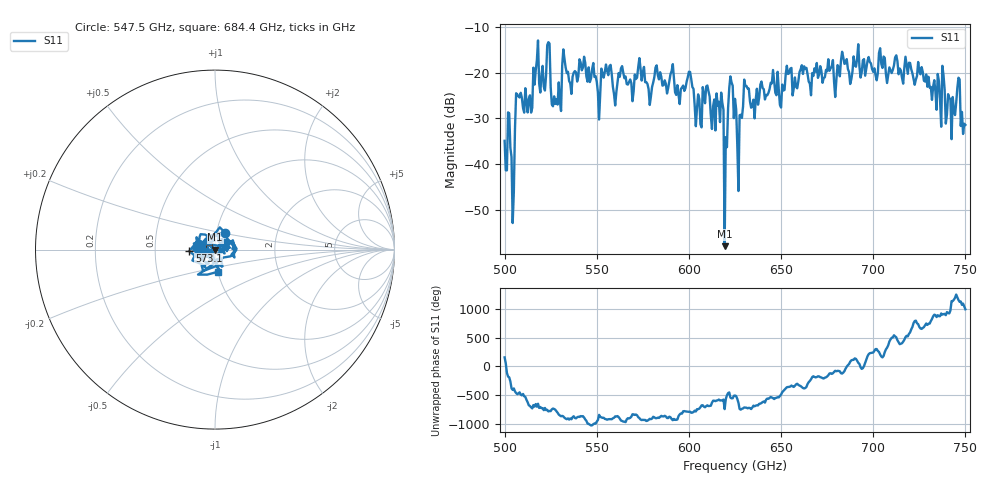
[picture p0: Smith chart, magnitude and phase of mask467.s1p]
!Created with skrf (http://scikit-rf.org).
# GHz S MA R 50.0
!freq magS11 angS11
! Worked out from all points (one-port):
!   401 points, 500 GHz to 750 GHz, reference 50 ohm
!   lowest |S11| = -57.8 dB at 619.4 GHz (marker M1), VSWR 1.00, Z = 50.1 - j0.0469 ohm
!   |S11| at or under -10 dB: start of sweep to end of sweep
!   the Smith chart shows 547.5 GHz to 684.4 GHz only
!   S11 on the Smith chart (normalised r, x): 547.5 GHz: 1.10, +0.21; 573.1 GHz: 0.75, -0.01; 684.4 GHz: 1.00, -0.25
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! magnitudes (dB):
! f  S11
! 500 GHz  -34.9
! 502.5 GHz  -28.9
! 504.4 GHz  -52.8
! 507.5 GHz  -25.2
! 513.8 GHz  -25.0
! 516.9 GHz  -19.6
! 523.8 GHz  -13.4
! 526.9 GHz  -25.2
! 531.2 GHz  -18.4
! 547.5 GHz  -19.2
! 562.5 GHz  -20.9
! 573.1 GHz  -16.9
! 593.8 GHz  -22.7
! 616.2 GHz  -26.4
! 619.4 GHz  -57.8
! 620.6 GHz  -36.3
! 622.5 GHz  -20.8
! 625 GHz  -25.7
! 627.5 GHz  -29.3
! 631.2 GHz  -22.9
! 634.4 GHz  -27.3
! 656.2 GHz  -25.0
! 684.4 GHz  -18.1
! 687.5 GHz  -22.5
! 718.8 GHz  -20.3
! 743.8 GHz  -28.1
! 745.6 GHz  -23.4
! 750 GHz  -31.4
